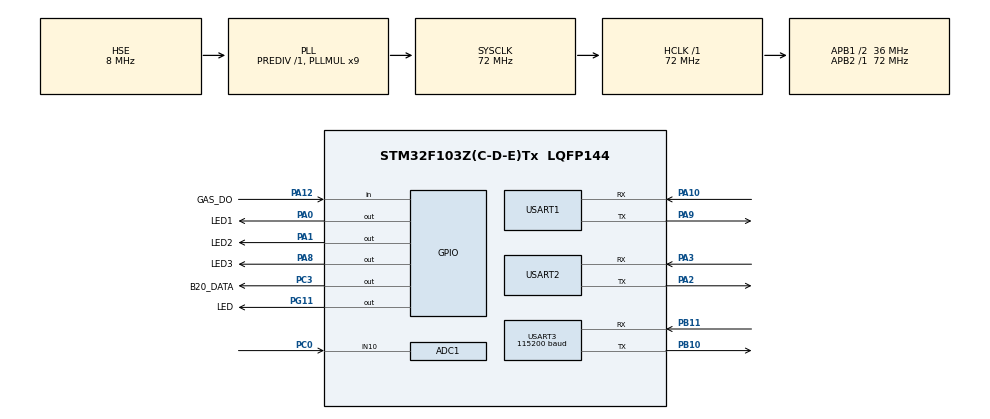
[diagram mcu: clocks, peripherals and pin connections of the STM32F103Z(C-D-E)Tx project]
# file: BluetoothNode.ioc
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ADC1.Channel-0\#ChannelRegularConversion=ADC_CHANNEL_10
ADC1.ContinuousConvMode=ENABLE
ADC1.NbrOfConversionFlag=1
ADC1.Rank-0\#ChannelRegularConversion=1
ADC1.SamplingTime-0\#ChannelRegularConversion=ADC_SAMPLETIME_1CYCLE_5
ADC1.master=1
Mcu.Family=STM32F1
Mcu.Name=STM32F103Z(C-D-E)Tx
Mcu.Package=LQFP144
NVIC.PriorityGroup=NVIC_PRIORITYGROUP_4
NVIC.TIM6_IRQn=true\:5\:0\:true\:false\:true\:true\:true\:true
NVIC.USART1_IRQn=true\:0\:0\:false\:false\:true\:true\:true\:true
NVIC.USART2_IRQn=true\:0\:0\:false\:false\:true\:true\:true\:true
NVIC.USART3_IRQn=true\:0\:0\:false\:false\:true\:true\:true\:true
OSC_IN.Mode=HSE-External-Oscillator
OSC_IN.Signal=RCC_OSC_IN
OSC_OUT.Mode=HSE-External-Oscillator
OSC_OUT.Signal=RCC_OSC_OUT
PA0-WKUP.GPIO_Label=LED1
PA0-WKUP.GPIO_Speed=GPIO_SPEED_FREQ_HIGH
PA0-WKUP.PinState=GPIO_PIN_SET
PA0-WKUP.Signal=GPIO_Output
PA1.GPIO_Label=LED2
PA1.GPIO_Speed=GPIO_SPEED_FREQ_HIGH
PA1.PinState=GPIO_PIN_SET
PA1.Signal=GPIO_Output
PA10.Mode=Asynchronous
PA10.Signal=USART1_RX
PA12.GPIO_Label=GAS_DO
PA12.Signal=GPIO_Input
PA13.Mode=Serial_Wire
PA13.Signal=SYS_JTMS-SWDIO
PA14.Mode=Serial_Wire
PA14.Signal=SYS_JTCK-SWCLK
PA2.Mode=Asynchronous
PA2.Signal=USART2_TX
PA3.Mode=Asynchronous
PA3.Signal=USART2_RX
PA8.GPIO_Label=LED3
PA8.GPIO_Speed=GPIO_SPEED_FREQ_HIGH
PA8.PinState=GPIO_PIN_SET
PA8.Signal=GPIO_Output
PA9.Mode=Asynchronous
PA9.Signal=USART1_TX
PB10.Mode=Asynchronous
PB10.Signal=USART3_TX
PB11.Mode=Asynchronous
PB11.Signal=USART3_RX
PC0.Signal=ADCx_IN10
PC14-OSC32_IN.Mode=LSE-External-Oscillator
PC14-OSC32_IN.Signal=RCC_OSC32_IN
PC15-OSC32_OUT.Mode=LSE-External-Oscillator
PC15-OSC32_OUT.Signal=RCC_OSC32_OUT
PC3.GPIO_Label=B20_DATA
PC3.GPIO_ModeDefaultOutputPP=GPIO_MODE_OUTPUT_OD
PC3.GPIO_PuPd=GPIO_NOPULL
PC3.GPIO_Speed=GPIO_SPEED_FREQ_HIGH
PC3.Signal=GPIO_Output
PG11.GPIO_Label=LED
PG11.Signal=GPIO_Output
ProjectManager.HeapSize=0x200
ProjectManager.StackSize=0x400
ProjectManager.TargetToolchain=MDK-ARM V5.32
RCC.ADCPresc=RCC_ADCPCLK2_DIV6
RCC.AHBFreq_Value=72000000
RCC.APB1CLKDivider=RCC_HCLK_DIV2
RCC.APB1Freq_Value=36000000
RCC.APB1TimFreq_Value=72000000
RCC.APB2Freq_Value=72000000
RCC.APB2TimFreq_Value=72000000
RCC.HCLKFreq_Value=72000000
RCC.PLLMUL=RCC_PLL_MUL9
RCC.PLLSourceVirtual=RCC_PLLSOURCE_HSE
RCC.SYSCLKFreq_VALUE=72000000
RCC.SYSCLKSource=RCC_SYSCLKSOURCE_PLLCLK
RCC.USBFreq_Value=72000000
SH.ADCx_IN10.0=ADC1_IN10,IN10
TIM1.AutoReloadPreload=TIM_AUTORELOAD_PRELOAD_ENABLE
TIM1.Period=5000
TIM1.Prescaler=72 - 1
TIM2.Prescaler=72 - 1
TIM6.AutoReloadPreload=TIM_AUTORELOAD_PRELOAD_ENABLE
TIM6.Period=50000
TIM6.Prescaler=7200 - 1
USART1.VirtualMode=VM_ASYNC
USART2.VirtualMode=VM_ASYNC
USART3.BaudRate=115200
USART3.VirtualMode=VM_ASYNC
VP_TIM1_VS_ClockSourceINT.Mode=Internal
VP_TIM2_VS_ClockSourceINT.Mode=Internal
VP_TIM6_VS_ClockSourceINT.Mode=Enable_Timer
board=custom

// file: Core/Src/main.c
/* USER CODE BEGIN Header */
/**
 ******************************************************************************
 * @file           : main.c
 * @brief          : Main program body
 ******************************************************************************
 * @attention
 *
 * Copyright (c) 2024 STMicroelectronics.
 * All rights reserved.
 *
 * This software is licensed under terms that can be found in the LICENSE file
 * in the root directory of this software component.
 * If no LICENSE file comes with this software, it is provided AS-IS.
 *
 ******************************************************************************
 */
/* USER CODE END Header */
#include "main.h"
#include "adc.h"
#include "tim.h"
#include "usart.h"
#include "gpio.h"

/* USER CODE BEGIN Includes */
#include "gateway/jdy_message.h"
#include <stdio.h>
#include "Inf_LED.h"
#include "Inf_RGB.h"
#include "18B20.h"
#include "Inf_LCD.h"
#include <string.h>
/* USER CODE END Includes */

/* USER CODE BEGIN PTD */
// 微秒延时

// 读取温度

/* USER CODE END PTD */

void SystemClock_Config(void);

/* USER CODE BEGIN 0 */
#define NODE_RX_CHUNK_SIZE 128U
#define NODE_RX_CHUNK_COUNT 8U

static uint8_t usart3_data[NODE_RX_CHUNK_SIZE];
typedef struct
{
    uint8_t data[NODE_RX_CHUNK_SIZE];
    uint16_t len;
    uint32_t received_ms;
} node_rx_chunk_t;

// 接收中断是唯一生产者，主循环是唯一消费者；发布索引前先完成数据复制。
static node_rx_chunk_t node_rx_chunks[NODE_RX_CHUNK_COUNT];
static volatile uint8_t node_rx_head;
static volatile uint8_t node_rx_tail;
static volatile uint8_t node_rx_discard;
static volatile uint8_t node_rx_rearm_needed;
static volatile uint32_t node_rx_dropped;
static volatile uint32_t node_uart_errors;
static jdy_parser_t node_parser;
static uint8_t data_status = 5;
static volatile uint8_t data_count;

// 消息格式保持不变：节点0002向网关0101发送两字节温度消息体。
static uint8_t mesh_send[17] = {
    'A', 'T', '+', 'M', 'E', 'S', 'H', 0x00,
    0x01, 0x01, 0x00, 0x02, 0x02, 0x00, 0x00, 0x0D, 0x0A};
static uint16_t temp;

static void Node_DiscardRx(void)
{
    uint32_t irq_state = __get_PRIMASK();
    __disable_irq();
    node_rx_tail = node_rx_head;
    node_rx_discard = 0;
    __DMB();
    __set_PRIMASK(irq_state);
    parser_init(&node_parser);
}

// 配置应答可能留下溢出标志；先停止旧接收，再清理硬件状态并重新接收。
static int Node_StartReceive(void)
{
    if (HAL_UART_AbortReceive(&huart3) != HAL_OK)
    {
        return -1;
    }
    // STM32F1通过先读SR再读DR清除错误，同时丢弃旧的未读字节。
    __HAL_UART_CLEAR_OREFLAG(&huart3);
    return HAL_UARTEx_ReceiveToIdle_IT(&huart3, usart3_data,
                                     sizeof(usart3_data)) == HAL_OK ? 0 : -1;
}

static void Node_ProcessRx(void)
{
    unsigned int budget;
    static const uint8_t node_address[2] = {0x00, 0x02};

    if (node_rx_rearm_needed)
    {
        node_rx_rearm_needed = 0;
        if (Node_StartReceive() != 0)
        {
            node_rx_rearm_needed = 1;
        }
        node_rx_discard = 1;
    }
    if (node_rx_discard)
    {
        // 丢过接收块后不能把缺口两侧字节拼成指令，先丢弃积压并重新找帧头。
        Node_DiscardRx();
    }

    for (budget = 0; budget < NODE_RX_CHUNK_COUNT; ++budget)
    {
        node_rx_chunk_t chunk;
        jdy_frame_t frame;
        uint8_t tail = node_rx_tail;
        if (node_rx_discard)
        {
            Node_DiscardRx();
            break;
        }
        if (tail == node_rx_head)
        {
            break;
        }
        __DMB();
        chunk = node_rx_chunks[tail];
        __DMB();
        node_rx_tail = (uint8_t)((tail + 1U) % NODE_RX_CHUNK_COUNT);

        // 用接收时刻检查半帧期限，不能用延后的主循环处理时刻代替。
        parser_tick(&node_parser, chunk.received_ms);
        if (parser_feed(&node_parser, chunk.data, chunk.len) != JDY_PARSER_OK)
        {
            parser_init(&node_parser);
            node_rx_discard = 1;
            break;
        }
        while (parser_next(&node_parser, &frame) == JDY_PARSER_OK)
        {
            gateway_message_t message;
            if (jdy_frame_to_message(&frame, node_address, &message) != 0 ||
                message.id[0] != JDY_GATEWAY_ADDRESS_HIGH ||
                message.id[1] != JDY_GATEWAY_ADDRESS_LOW || message.msg_len != 1U)
            {
                continue;
            }
            if (message.msg[0] == '1')
            {
                data_status = 1;
            }
            else if (message.msg[0] == '0')
            {
                data_status = 2;
            }
        }
    }
    if (node_rx_tail == node_rx_head)
    {
        parser_tick(&node_parser, HAL_GetTick());
    }
}
/* USER CODE END 0 */

int main(void)
{

    /* USER CODE BEGIN 1 */
    uint32_t rgb_changed_ms = 0;
    uint8_t rgb_step = 0;
    uint8_t temperature_pending = 0;
    uint32_t temperature_started_ms = 0;
/* USER CODE END 1 */

    /* MCU Configuration--------------------------------------------------------*/

    /* Reset of all peripherals, Initializes the Flash interface and the Systick. */
    HAL_Init();

    /* Configure the system clock */
    SystemClock_Config();

    /* Initialize all configured peripherals */
    MX_GPIO_Init();
    MX_USART1_UART_Init();
    MX_USART3_UART_Init();
    MX_TIM1_Init();
    MX_ADC1_Init();
    MX_USART2_UART_Init();
    MX_TIM6_Init();
    MX_TIM2_Init();
    /* USER CODE BEGIN 2 */
    Inf_LCD_Init();
    Inf_LCD_SetScreenColor(WHITE);
    Inf_LCD_ShowString(150, 0, 32, "start", BLACK, WHITE);
    HAL_Delay(1000);
    HAL_UART_Transmit(&huart3, (const uint8_t *)"AT+NETID1111\r\n", 14, 1000);
    Inf_LCD_ShowString(0, 32, 32, "NETID:1111", BLACK, WHITE);
    HAL_Delay(1000);
    HAL_UART_Transmit(&huart3, (const uint8_t *)"AT+MADDR0002\r\n", 14, 1000);
    Inf_LCD_ShowString(0, 64, 32, "MADDR:0002", BLACK, WHITE);
    HAL_Delay(1000);
    HAL_UART_Transmit(&huart3, (const uint8_t *)"AT+RESET\r\n", 10, 1000);
    HAL_Delay(1000);
    HAL_TIM_Base_Start_IT(&htim6);
    Inf_Send_Res();
    parser_init(&node_parser);
    if (Node_StartReceive() != 0)
    {
        // 首次接收失败也进入主循环，由恢复分支重试，不能停住整个节点。
        node_uart_errors++;
        node_rx_discard = 1;
        node_rx_rearm_needed = 1;
    }
    Inf_LCD_ShowString(0, 96, 32, (uint8_t *)"RUN:2A-R1", BLACK, WHITE);
/* USER CODE END 2 */

    /* Infinite loop */
    /* USER CODE BEGIN WHILE */
    while(1)
    {
        Node_ProcessRx();
        if (data_status == 1 && (uint32_t)(HAL_GetTick() - rgb_changed_ms) >= 50U)
        {
            // 每次只推进一档灯效，期间继续处理串口，不等待50毫秒。
            if (rgb_step == 0) Inf_Send_Color(0, 255, 255);
            else if (rgb_step == 1) Inf_Send_Color(255, 0, 255);
            else Inf_Send_Color(255, 255, 0);
            rgb_step = (uint8_t)((rgb_step + 1U) % 3U);
            rgb_changed_ms = HAL_GetTick();
        }
        else if (data_status == 2)
        {
            Inf_Send_Color(0, 0, 0);
            Inf_Send_Res();
            data_status = 0;
            rgb_step = 0;
        }
/* USER CODE END WHILE */

        /* USER CODE BEGIN 3 */
        if (!temperature_pending && data_count >= 2U)
        {
            uint32_t irq_state = __get_PRIMASK();
            __disable_irq();
            data_count = 0;
            __set_PRIMASK(irq_state);
            if (DS18B20_StartConversion())
            {
                temperature_started_ms = HAL_GetTick();
                temperature_pending = 1;
                Inf_LCD_ShowString(0, 128, 32, (uint8_t *)"TEMP:CONVERT ", BLACK, WHITE);
            }
            else
            {
                // 应答失败要能看见，避免误以为MQTT或JDY没有转发。
                Inf_LCD_ShowString(0, 128, 32, (uint8_t *)"TEMP:NO ECHO ", BLACK, WHITE);
            }
        }
        // 转换等待期间继续运行while(1)，不阻塞750毫秒。
        if (temperature_pending &&
            (uint32_t)(HAL_GetTick() - temperature_started_ms) >= 750U)
        {
            temp = DS18B20_ReadTemperature();
            mesh_send[13] = (uint8_t)(temp / 10U + '0');
            mesh_send[14] = (uint8_t)(temp % 10U + '0');
            if (HAL_UART_Transmit(&huart3, mesh_send, sizeof(mesh_send), 1000) == HAL_OK)
            {
                // 这里只确认本机串口发送完成，不代表网关已经收到。
                Inf_LCD_ShowString(0, 160, 32, (uint8_t *)"UART:TX OK  ", BLACK, WHITE);
            }
            else
            {
                Inf_LCD_ShowString(0, 160, 32, (uint8_t *)"UART:TX FAIL", BLACK, WHITE);
            }
            temperature_pending = 0;
        }
    }
/* USER CODE END 3 */
}

void SystemClock_Config(void)
{
    RCC_OscInitTypeDef RCC_OscInitStruct = {0};
    RCC_ClkInitTypeDef RCC_ClkInitStruct = {0};
    RCC_PeriphCLKInitTypeDef PeriphClkInit = {0};

    /** Initializes the RCC Oscillators according to the specified parameters
     * in the RCC_OscInitTypeDef structure.
     */
    RCC_OscInitStruct.OscillatorType = RCC_OSCILLATORTYPE_HSE;
    RCC_OscInitStruct.HSEState = RCC_HSE_ON;
    RCC_OscInitStruct.HSEPredivValue = RCC_HSE_PREDIV_DIV1;
    RCC_OscInitStruct.HSIState = RCC_HSI_ON;
    RCC_OscInitStruct.PLL.PLLState = RCC_PLL_ON;
    RCC_OscInitStruct.PLL.PLLSource = RCC_PLLSOURCE_HSE;
    RCC_OscInitStruct.PLL.PLLMUL = RCC_PLL_MUL9;
    if (HAL_RCC_OscConfig(&RCC_OscInitStruct) != HAL_OK)
    {
        Error_Handler();
    }

    /** Initializes the CPU, AHB and APB buses clocks
     */
    RCC_ClkInitStruct.ClockType = RCC_CLOCKTYPE_HCLK | RCC_CLOCKTYPE_SYSCLK | RCC_CLOCKTYPE_PCLK1 | RCC_CLOCKTYPE_PCLK2;
    RCC_ClkInitStruct.SYSCLKSource = RCC_SYSCLKSOURCE_PLLCLK;
    RCC_ClkInitStruct.AHBCLKDivider = RCC_SYSCLK_DIV1;
    RCC_ClkInitStruct.APB1CLKDivider = RCC_HCLK_DIV2;
    RCC_ClkInitStruct.APB2CLKDivider = RCC_HCLK_DIV1;

    if (HAL_RCC_ClockConfig(&RCC_ClkInitStruct, FLASH_LATENCY_2) != HAL_OK)
    {
        Error_Handler();
    }
    PeriphClkInit.PeriphClockSelection = RCC_PERIPHCLK_ADC;
    PeriphClkInit.AdcClockSelection = RCC_ADCPCLK2_DIV6;
    if (HAL_RCCEx_PeriphCLKConfig(&PeriphClkInit) != HAL_OK)
    {
        Error_Handler();
    }
}

/* USER CODE BEGIN 4 */
void HAL_UARTEx_RxEventCallback(UART_HandleTypeDef *huart, uint16_t Size)
{
    if (huart->Instance == USART3)
    {
        uint8_t head = node_rx_head;
        uint8_t next = (uint8_t)((head + 1U) % NODE_RX_CHUNK_COUNT);
        if (node_rx_discard || Size > sizeof(usart3_data) || next == node_rx_tail)
        {
            node_rx_dropped++;
            node_rx_discard = 1;
        }
        else if (Size > 0U)
        {
            node_rx_chunks[head].len = Size;
            node_rx_chunks[head].received_ms = HAL_GetTick();
            memcpy(node_rx_chunks[head].data, usart3_data, Size);
            __DMB();
            node_rx_head = next;
        }
        // 中断只复制接收块并重新启动接收，不打印、不绘屏、不执行指令。
        if (HAL_UARTEx_ReceiveToIdle_IT(&huart3, usart3_data, sizeof(usart3_data)) != HAL_OK)
        {
            node_uart_errors++;
            node_rx_rearm_needed = 1;
        }
    }
}

void HAL_UART_ErrorCallback(UART_HandleTypeDef *huart)
{
    if (huart->Instance == USART3)
    {
        node_uart_errors++;
        node_rx_discard = 1;
        node_rx_rearm_needed = 1;
    }
}

void HAL_TIM_PeriodElapsedCallback(TIM_HandleTypeDef *htim)
{
    if (htim->Instance == TIM6 && data_count < 2U)
    {
        data_count++;
    }
}
/* USER CODE END 4 */

void Error_Handler(void)
{
    __disable_irq();
    while (1)
    {
    }
}
